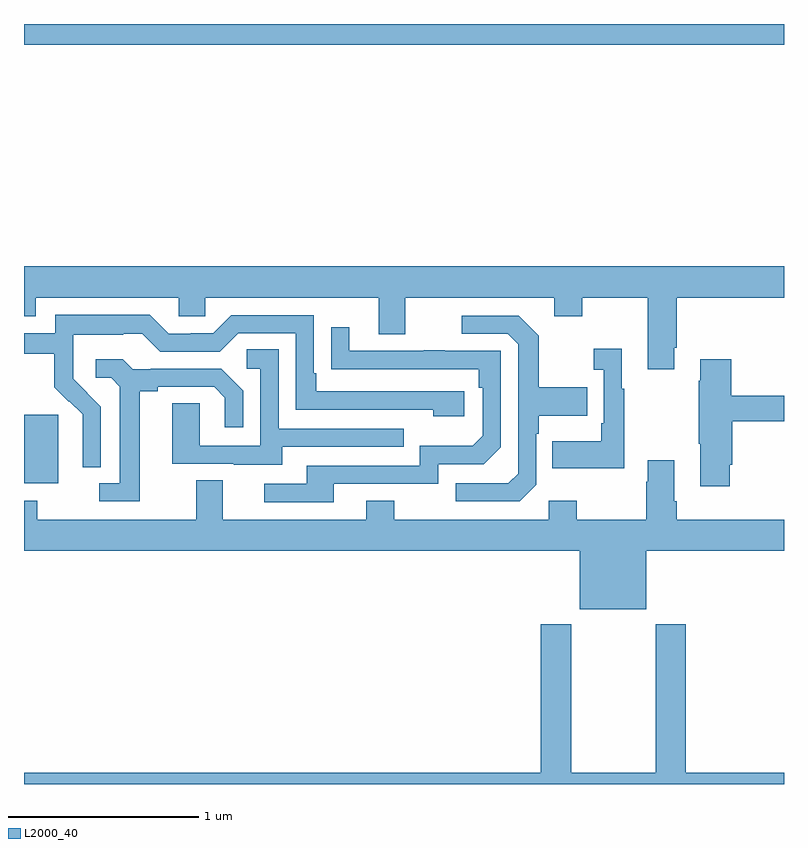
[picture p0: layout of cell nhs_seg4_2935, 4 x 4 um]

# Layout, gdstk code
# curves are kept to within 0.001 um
import gdstk
lib = gdstk.Library(unit=1e-6, precision=1e-09)
def R(c, l, rs):  # rectangles x0, y0, x1, y1
    for r in rs: c.add(gdstk.rectangle(r[:2], r[2:], *l))
def P(c, l, *ps):  # polygons
    for p in ps: c.add(gdstk.Polygon(p, *l))
L2000_40 = (2000, 40)

nhs_seg4_2935 = lib.new_cell('nhs_seg4_2935')
R(nhs_seg4_2935, L2000_40, [(265.001,822.482,265.18,822.843), (265,824.792,269,824.9)])
P(nhs_seg4_2935, L2000_40, [(265,823.361),(265.063,823.361),(265.063,823.46),(265.815,823.46),(265.815,823.362),(265.953,823.362),(265.953,823.46),(266.867,823.46),(266.867,823.266),(267.007,823.266),(267.007,823.46),(267.791,823.46),(267.791,823.361),(267.939,823.361),(267.939,823.46),(268.283,823.46),(268.283,823.083),(268.423,823.083),(268.423,823.195),(268.436,823.195),(268.436,823.46),(269,823.46),(269,823.624),(265,823.624)],
  [(265.404,822.886),(265.258,823.034),(265.258,823.131),(265.26,823.131),(265.26,823.265),(265.523,823.265),(265.523,823.269),(265.623,823.269),(265.716,823.176),(266.031,823.176),(266.127,823.272),(266.43,823.272),(266.43,822.87),(267.155,822.87),(267.155,822.836),(267.316,822.836),(267.316,822.966),(266.539,822.966),(266.539,823.063),(266.526,823.063),(266.526,823.368),(266.091,823.368),(265.995,823.272),(265.877,823.272),(265.877,823.269),(265.761,823.269),(265.661,823.369),(265.164,823.369),(265.164,823.272),(265,823.272),(265,823.164),(265.159,823.164),(265.159,822.989),(265.236,822.912),(265.239,822.915),(265.31,822.845),(265.31,822.722),(265.308,822.722),(265.308,822.568),(265.404,822.568)],
  [(267.696,822.474),(267.696,822.743),(267.709,822.743),(267.709,822.839),(267.965,822.839),(267.965,822.987),(267.709,822.987),(267.709,823.259),(267.603,823.365),(267.303,823.365),(267.303,823.269),(267.546,823.269),(267.6,823.215),(267.6,822.534),(267.549,822.483),(267.273,822.483),(267.273,822.387),(267.609,822.387)],
  [(266.629,822.48),(267.18,822.48),(267.18,822.582),(267.42,822.582),(267.51,822.672),(267.51,823.179),(267.215,823.179),(267.215,823.184),(267.103,823.184),(267.103,823.179),(266.713,823.179),(266.713,823.303),(266.617,823.303),(266.617,823.084),(267.394,823.083),(267.394,822.986),(267.414,822.986),(267.414,822.732),(267.361,822.679),(267.084,822.679),(267.084,822.576),(266.489,822.576),(266.489,822.48),(266.265,822.48),(266.265,822.384),(266.629,822.384)],
  [(268.159,822.979),(268.147,822.979),(268.147,823.192),(267.999,823.192),(267.999,823.079),(268.05,823.079),(268.05,822.799),(268.038,822.799),(268.038,822.703),(267.781,822.703),(267.781,822.563),(268.159,822.563)],
  [(266.359,822.675),(266.999,822.675),(266.999,822.771),(266.34,822.771),(266.34,823.187),(266.172,823.187),(266.172,823.086),(266.244,823.086),(266.244,822.681),(265.926,822.681),(265.926,822.905),(265.781,822.905),(265.781,822.585),(266.105,822.585),(266.105,822.581),(266.359,822.581)],
  [(268.714,822.58),(268.727,822.58),(268.727,822.808),(269,822.808),(269,822.944),(268.722,822.944),(268.722,823.135),(268.559,823.135),(268.559,823.022),(268.552,823.022),(268.552,822.691),(268.559,822.691),(268.559,822.468),(268.714,822.468)],
  [(265.609,822.968),(265.705,822.968),(265.705,822.99),(266,822.99),(266.057,822.933),(266.057,822.777),(266.154,822.777),(266.154,822.97),(266.038,823.086),(265.666,823.086),(265.666,823.083),(265.572,823.083),(265.52,823.135),(265.377,823.135),(265.377,823.038),(265.458,823.038),(265.505,822.991),(265.505,822.483),(265.395,822.483),(265.395,822.387),(265.609,822.387)],
  [(268.276,822.128),(269,822.128),(269,822.292),(268.436,822.292),(268.436,822.388),(268.423,822.388),(268.423,822.604),(268.283,822.604),(268.283,822.491),(268.276,822.491),(268.276,822.292),(267.909,822.292),(267.909,822.391),(267.762,822.391),(267.762,822.292),(266.949,822.292),(266.949,822.391),(266.801,822.391),(266.801,822.292),(266.047,822.292),(266.047,822.5),(265.907,822.5),(265.907,822.292),(265.071,822.292),(265.071,822.391),(265,822.391),(265,822.128),(267.926,822.128),(267.926,821.819),(268.276,821.819)],
  [(269,820.96),(268.484,820.96),(268.484,821.74),(268.324,821.74),(268.324,820.96),(267.879,820.96),(267.879,821.74),(267.719,821.74),(267.719,820.96),(265,820.96),(265,820.9),(269,820.9)])

lib.write_gds('nhs_seg4_2935.gds')
